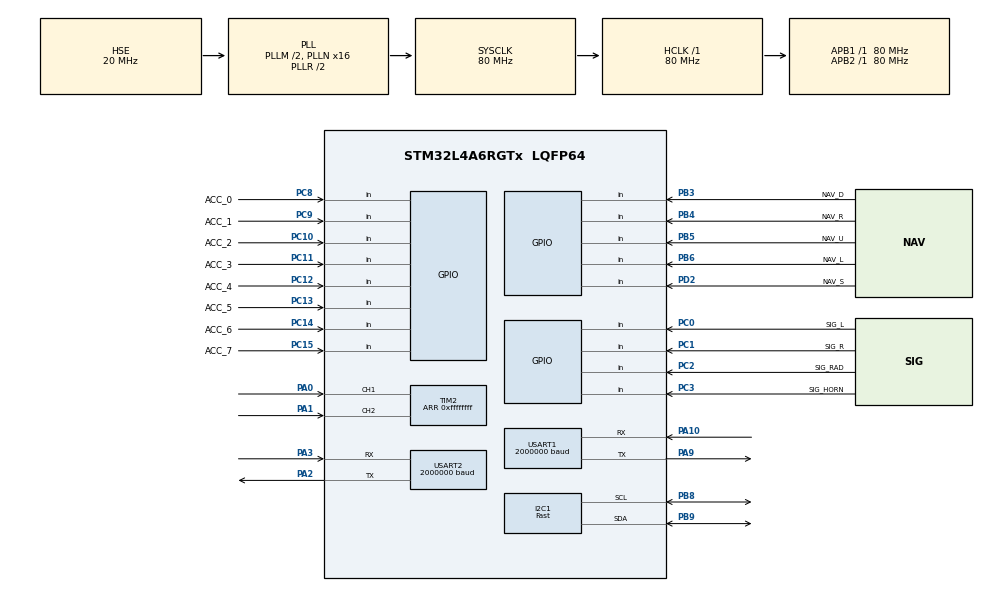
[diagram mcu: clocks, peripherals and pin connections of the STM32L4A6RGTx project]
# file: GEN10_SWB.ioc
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CRC.InputDataInversionMode=CRC_INPUTDATA_INVERSION_BYTE
CRC.OutputDataInversionMode=CRC_OUTPUTDATA_INVERSION_ENABLE
FREERTOS.INCLUDE_eTaskGetState=1
FREERTOS.INCLUDE_pcTaskGetTaskName=1
FREERTOS.INCLUDE_vTaskDelayUntil=1
FREERTOS.INCLUDE_xEventGroupSetBitFromISR=0
FREERTOS.INCLUDE_xQueueGetMutexHolder=1
FREERTOS.INCLUDE_xSemaphoreGetMutexHolder=1
FREERTOS.INCLUDE_xTaskAbortDelay=1
FREERTOS.INCLUDE_xTaskGetCurrentTaskHandle=1
FREERTOS.INCLUDE_xTaskGetHandle=1
FREERTOS.INCLUDE_xTimerPendFunctionCall=0
FREERTOS.Tasks01=defaultTask,0,512,StartDefaultTask,Default,NULL,Dynamic,NULL,NULL
FREERTOS.configGENERATE_RUN_TIME_STATS=1
FREERTOS.configMINIMAL_STACK_SIZE=512
FREERTOS.configQUEUE_REGISTRY_SIZE=16
FREERTOS.configRECORD_STACK_HIGH_ADDRESS=1
FREERTOS.configTIMER_QUEUE_LENGTH=32
FREERTOS.configTIMER_TASK_PRIORITY=4
FREERTOS.configTIMER_TASK_STACK_DEPTH=2048
FREERTOS.configTOTAL_HEAP_SIZE=262144
FREERTOS.configUSE_APPLICATION_TASK_TAG=1
FREERTOS.configUSE_STATS_FORMATTING_FUNCTIONS=1
FREERTOS.configUSE_TIMERS=1
FREERTOS.configUSE_TRACE_FACILITY=1
I2C1.I2C_Speed_Mode=I2C_Fast
I2C1.Timing=0x00702991
Mcu.Family=STM32L4
Mcu.Name=STM32L4A6RGTx
Mcu.Package=LQFP64
NVIC.PriorityGroup=NVIC_PRIORITYGROUP_4
NVIC.TIM6_DAC_IRQn=true\:0\:0\:false\:false\:true\:false\:false\:true
NVIC.TimeBase=TIM6_DAC_IRQn
NVIC.TimeBaseIP=TIM6
NVIC.USART1_IRQn=true\:6\:0\:true\:true\:true\:2\:true\:true\:true
NVIC.USART2_IRQn=true\:6\:0\:true\:true\:true\:1\:true\:true\:true
PA0.Signal=S_TIM2_CH1
PA1.Signal=S_TIM2_CH2
PA10.Mode=Asynchronous
PA10.Signal=USART1_RX
PA13\ (JTMS/SWDIO).Mode=Serial_Wire
PA13\ (JTMS/SWDIO).Signal=SYS_JTMS-SWDIO
PA14\ (JTCK/SWCLK).Mode=Serial_Wire
PA14\ (JTCK/SWCLK).Signal=SYS_JTCK-SWCLK
PA2.Mode=Asynchronous
PA2.Signal=USART2_TX
PA3.Mode=Asynchronous
PA3.Signal=USART2_RX
PA9.Mode=Asynchronous
PA9.Signal=USART1_TX
PB3\ (JTDO/TRACESWO).GPIO_Label=NAV_D
PB3\ (JTDO/TRACESWO).Signal=GPIO_Input
PB4\ (NJTRST).GPIO_Label=NAV_R
PB4\ (NJTRST).Signal=GPIO_Input
PB5.GPIO_Label=NAV_U
PB5.Signal=GPIO_Input
PB6.GPIO_Label=NAV_L
PB6.Signal=GPIO_Input
PB8.Mode=I2C
PB8.Signal=I2C1_SCL
PB9.Mode=I2C
PB9.Signal=I2C1_SDA
PC0.GPIO_Label=SIG_L
PC0.Signal=GPIO_Input
PC1.GPIO_Label=SIG_R
PC1.Signal=GPIO_Input
PC10.GPIO_Label=ACC_2
PC10.Signal=GPIO_Input
PC11.GPIO_Label=ACC_3
PC11.Signal=GPIO_Input
PC12.GPIO_Label=ACC_4
PC12.Signal=GPIO_Input
PC13.GPIO_Label=ACC_5
PC13.Signal=GPIO_Input
PC14-OSC32_IN\ (PC14).GPIO_Label=ACC_6
PC14-OSC32_IN\ (PC14).Signal=GPIO_Input
PC15-OSC32_OUT\ (PC15).GPIO_Label=ACC_7
PC15-OSC32_OUT\ (PC15).Signal=GPIO_Input
PC2.GPIO_Label=SIG_RAD
PC2.Signal=GPIO_Input
PC3.GPIO_Label=SIG_HORN
PC3.Signal=GPIO_Input
PC8.GPIO_Label=ACC_0
PC8.Signal=GPIO_Input
PC9.GPIO_Label=ACC_1
PC9.Signal=GPIO_Input
PD2.GPIO_Label=NAV_S
PD2.Signal=GPIO_Input
PH0-OSC_IN\ (PH0).Mode=HSE-External-Clock-Source
PH0-OSC_IN\ (PH0).Signal=RCC_OSC_IN
ProjectManager.HeapSize=0x200
ProjectManager.StackSize=0x400
ProjectManager.TargetToolchain=STM32CubeIDE
RCC.ADCFreq_Value=40000000
RCC.AHBFreq_Value=80000000
RCC.APB1Freq_Value=80000000
RCC.APB1TimFreq_Value=80000000
RCC.APB2Freq_Value=80000000
RCC.APB2TimFreq_Value=80000000
RCC.CortexFreq_Value=80000000
RCC.HCLKFreq_Value=80000000
RCC.HSE_VALUE=20000000
RCC.HSI48_VALUE=48000000
RCC.HSI_VALUE=16000000
RCC.LSE_VALUE=32768
RCC.MSI_VALUE=4000000
RCC.PLLM=2
RCC.PLLN=16
RCC.PLLSourceVirtual=RCC_PLLSOURCE_HSE
RCC.SYSCLKFreq_VALUE=80000000
RCC.SYSCLKSource=RCC_SYSCLKSOURCE_PLLCLK
RCC.USBFreq_Value=40000000
RCC.VCOOutputFreq_Value=160000000
SH.S_TIM2_CH1.0=TIM2_CH1,Encoder_Interface
SH.S_TIM2_CH2.0=TIM2_CH2,Encoder_Interface
TIM2.EncoderMode=TIM_ENCODERMODE_TI12
TIM2.Period=0xffffffff
USART1.BaudRate=2000000
USART1.VirtualMode-Asynchronous=VM_ASYNC
USART2.BaudRate=2000000
USART2.VirtualMode-Asynchronous=VM_ASYNC
VP_CRC_VS_CRC.Mode=CRC_Activate
VP_FREERTOS_VS_CMSIS_V1.Mode=CMSIS_V1
VP_SYS_VS_tim6.Mode=TIM6
board=custom

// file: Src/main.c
/* USER CODE BEGIN Header */
/**
  ******************************************************************************
  * @file           : main.c
  * @brief          : Main program body
  ******************************************************************************
  * @attention
  *
  * <h2><center>&copy; Copyright (c) 2019 STMicroelectronics.
  * All rights reserved.</center></h2>
  *
  * This software component is licensed by ST under BSD 3-Clause license,
  * the "License"; You may not use this file except in compliance with the
  * License. You may obtain a copy of the License at:
  *                        opensource.org/licenses/BSD-3-Clause
  *
  ******************************************************************************
  */
/* USER CODE END Header */

#include "main.h"
#include "cmsis_os.h"

/* USER CODE BEGIN Includes */
#include "accelEnc.h"
#include "launchCodes.h"
/* USER CODE END Includes */

/* USER CODE BEGIN PTD */
typedef struct{
	uint8_t* buf;
	size_t len;
}bufQEntry_t;
/* USER CODE END PTD */

/* USER CODE BEGIN PD */
QueueHandle_t uart1TxQ, uart2TxQ;
SemaphoreHandle_t uart1TxSem, uart2TxSem;
/* USER CODE END PD */

CRC_HandleTypeDef hcrc;

I2C_HandleTypeDef hi2c1;

TIM_HandleTypeDef htim2;

UART_HandleTypeDef huart1;
UART_HandleTypeDef huart2;

osThreadId defaultTaskHandle;

void SystemClock_Config(void);
static void MX_GPIO_Init(void);
static void MX_CRC_Init(void);
static void MX_I2C1_Init(void);
static void MX_TIM2_Init(void);
static void MX_USART1_UART_Init(void);
static void MX_USART2_UART_Init(void);
void StartDefaultTask(void const * argument);

static void MX_NVIC_Init(void);
/* USER CODE BEGIN PFP */
static void buttonStateTmr(TimerHandle_t xTimer);
static void encoderTmr(TimerHandle_t xTimer);
static void temperatureTmr(TimerHandle_t xTimer);
static void uart1TxTask(const void* pv);
static void uart2TxTask(const void* pv);
/* USER CODE END PFP */

int main(void)
{

  /* MCU Configuration--------------------------------------------------------*/

  /* Reset of all peripherals, Initializes the Flash interface and the Systick. */
  HAL_Init();

  /* USER CODE BEGIN Init */
  	LAUNCH_armNuke();
  /* USER CODE END Init */

  /* Configure the system clock */
  SystemClock_Config();

  /* Initialize all configured peripherals */
  MX_GPIO_Init();
  MX_CRC_Init();
  MX_I2C1_Init();
  MX_TIM2_Init();
  MX_USART1_UART_Init();
  MX_USART2_UART_Init();

  /* Initialize interrupts */
  MX_NVIC_Init();

  /* USER CODE BEGIN RTOS_SEMAPHORES */
  /* add semaphores, ... */
  uart1TxSem = xSemaphoreCreateBinary();
  xSemaphoreGive(uart1TxSem);
  uart2TxSem = xSemaphoreCreateBinary();
  xSemaphoreGive(uart2TxSem);
  /* USER CODE END RTOS_SEMAPHORES */

  /* USER CODE BEGIN RTOS_TIMERS */
  /* start timers, add new ones, ... */
  xTimerStart(xTimerCreate("buttonStateTmr", 50, pdTRUE, NULL, buttonStateTmr), 0);
  xTimerStart(xTimerCreate("encoderTmr", 10, pdTRUE, NULL, encoderTmr), 0);
  xTimerStart(xTimerCreate("temperatureTmr", 100, pdTRUE, NULL, temperatureTmr), 0);
  /* USER CODE END RTOS_TIMERS */

  /* USER CODE BEGIN RTOS_QUEUES */
  /* add queues, ... */
  uart1TxQ = xQueueCreate(64, sizeof(bufQEntry_t));
  uart2TxQ = xQueueCreate(64, sizeof(bufQEntry_t));
#ifdef ENABLE_CUBEMX_DEFAULT_TASK
  /* USER CODE END RTOS_QUEUES */

  /* Create the thread(s) */
  /* definition and creation of defaultTask */
  osThreadDef(defaultTask, StartDefaultTask, osPriorityNormal, 0, 512);
  defaultTaskHandle = osThreadCreate(osThread(defaultTask), NULL);

  /* USER CODE BEGIN RTOS_THREADS */
#endif
  /* add threads, ... */
  xTaskCreate(uart1TxTask, "uart1TxTask", 1024, NULL, 3, NULL);
  xTaskCreate(uart2TxTask, "uart2TxTask", 1024, NULL, 3, NULL);
  /* USER CODE END RTOS_THREADS */

  /* Start scheduler */
  osKernelStart();

  /* We should never get here as control is now taken by the scheduler */

  /* Infinite loop */
  while (1)
  {

  }
}

void SystemClock_Config(void)
{
  RCC_OscInitTypeDef RCC_OscInitStruct = {0};
  RCC_ClkInitTypeDef RCC_ClkInitStruct = {0};
  RCC_PeriphCLKInitTypeDef PeriphClkInit = {0};

  /** Initializes the CPU, AHB and APB busses clocks
  */
  RCC_OscInitStruct.OscillatorType = RCC_OSCILLATORTYPE_HSE;
  RCC_OscInitStruct.HSEState = RCC_HSE_BYPASS;
  RCC_OscInitStruct.PLL.PLLState = RCC_PLL_ON;
  RCC_OscInitStruct.PLL.PLLSource = RCC_PLLSOURCE_HSE;
  RCC_OscInitStruct.PLL.PLLM = 2;
  RCC_OscInitStruct.PLL.PLLN = 16;
  RCC_OscInitStruct.PLL.PLLP = RCC_PLLP_DIV2;
  RCC_OscInitStruct.PLL.PLLQ = RCC_PLLQ_DIV2;
  RCC_OscInitStruct.PLL.PLLR = RCC_PLLR_DIV2;
  if (HAL_RCC_OscConfig(&RCC_OscInitStruct) != HAL_OK)
  {
    Error_Handler();
  }
  /** Initializes the CPU, AHB and APB busses clocks
  */
  RCC_ClkInitStruct.ClockType = RCC_CLOCKTYPE_HCLK|RCC_CLOCKTYPE_SYSCLK
                              |RCC_CLOCKTYPE_PCLK1|RCC_CLOCKTYPE_PCLK2;
  RCC_ClkInitStruct.SYSCLKSource = RCC_SYSCLKSOURCE_PLLCLK;
  RCC_ClkInitStruct.AHBCLKDivider = RCC_SYSCLK_DIV1;
  RCC_ClkInitStruct.APB1CLKDivider = RCC_HCLK_DIV1;
  RCC_ClkInitStruct.APB2CLKDivider = RCC_HCLK_DIV1;

  if (HAL_RCC_ClockConfig(&RCC_ClkInitStruct, FLASH_LATENCY_4) != HAL_OK)
  {
    Error_Handler();
  }
  PeriphClkInit.PeriphClockSelection = RCC_PERIPHCLK_USART1|RCC_PERIPHCLK_USART2
                              |RCC_PERIPHCLK_I2C1;
  PeriphClkInit.Usart1ClockSelection = RCC_USART1CLKSOURCE_PCLK2;
  PeriphClkInit.Usart2ClockSelection = RCC_USART2CLKSOURCE_PCLK1;
  PeriphClkInit.I2c1ClockSelection = RCC_I2C1CLKSOURCE_PCLK1;
  if (HAL_RCCEx_PeriphCLKConfig(&PeriphClkInit) != HAL_OK)
  {
    Error_Handler();
  }
  /** Configure the main internal regulator output voltage
  */
  if (HAL_PWREx_ControlVoltageScaling(PWR_REGULATOR_VOLTAGE_SCALE1) != HAL_OK)
  {
    Error_Handler();
  }
}

/**
  * @brief NVIC Configuration.
  * @retval None
  */
static void MX_NVIC_Init(void)
{
  /* USART2_IRQn interrupt configuration */
  HAL_NVIC_SetPriority(USART2_IRQn, 6, 0);
  HAL_NVIC_EnableIRQ(USART2_IRQn);
  /* USART1_IRQn interrupt configuration */
  HAL_NVIC_SetPriority(USART1_IRQn, 6, 0);
  HAL_NVIC_EnableIRQ(USART1_IRQn);
}

static void MX_CRC_Init(void)
{

  hcrc.Instance = CRC;
  hcrc.Init.DefaultPolynomialUse = DEFAULT_POLYNOMIAL_ENABLE;
  hcrc.Init.DefaultInitValueUse = DEFAULT_INIT_VALUE_ENABLE;
  hcrc.Init.InputDataInversionMode = CRC_INPUTDATA_INVERSION_BYTE;
  hcrc.Init.OutputDataInversionMode = CRC_OUTPUTDATA_INVERSION_ENABLE;
  hcrc.InputDataFormat = CRC_INPUTDATA_FORMAT_BYTES;
  if (HAL_CRC_Init(&hcrc) != HAL_OK)
  {
    Error_Handler();
  }

}

static void MX_I2C1_Init(void)
{

  hi2c1.Instance = I2C1;
  hi2c1.Init.Timing = 0x00702991;
  hi2c1.Init.OwnAddress1 = 0;
  hi2c1.Init.AddressingMode = I2C_ADDRESSINGMODE_7BIT;
  hi2c1.Init.DualAddressMode = I2C_DUALADDRESS_DISABLE;
  hi2c1.Init.OwnAddress2 = 0;
  hi2c1.Init.OwnAddress2Masks = I2C_OA2_NOMASK;
  hi2c1.Init.GeneralCallMode = I2C_GENERALCALL_DISABLE;
  hi2c1.Init.NoStretchMode = I2C_NOSTRETCH_DISABLE;
  if (HAL_I2C_Init(&hi2c1) != HAL_OK)
  {
    Error_Handler();
  }
  /** Configure Analogue filter
  */
  if (HAL_I2CEx_ConfigAnalogFilter(&hi2c1, I2C_ANALOGFILTER_ENABLE) != HAL_OK)
  {
    Error_Handler();
  }
  /** Configure Digital filter
  */
  if (HAL_I2CEx_ConfigDigitalFilter(&hi2c1, 0) != HAL_OK)
  {
    Error_Handler();
  }

}

static void MX_TIM2_Init(void)
{

  TIM_Encoder_InitTypeDef sConfig = {0};
  TIM_MasterConfigTypeDef sMasterConfig = {0};

  htim2.Instance = TIM2;
  htim2.Init.Prescaler = 0;
  htim2.Init.CounterMode = TIM_COUNTERMODE_UP;
  htim2.Init.Period = 0xffffffff;
  htim2.Init.ClockDivision = TIM_CLOCKDIVISION_DIV1;
  htim2.Init.AutoReloadPreload = TIM_AUTORELOAD_PRELOAD_DISABLE;
  sConfig.EncoderMode = TIM_ENCODERMODE_TI12;
  sConfig.IC1Polarity = TIM_ICPOLARITY_RISING;
  sConfig.IC1Selection = TIM_ICSELECTION_DIRECTTI;
  sConfig.IC1Prescaler = TIM_ICPSC_DIV1;
  sConfig.IC1Filter = 0;
  sConfig.IC2Polarity = TIM_ICPOLARITY_RISING;
  sConfig.IC2Selection = TIM_ICSELECTION_DIRECTTI;
  sConfig.IC2Prescaler = TIM_ICPSC_DIV1;
  sConfig.IC2Filter = 0;
  if (HAL_TIM_Encoder_Init(&htim2, &sConfig) != HAL_OK)
  {
    Error_Handler();
  }
  sMasterConfig.MasterOutputTrigger = TIM_TRGO_RESET;
  sMasterConfig.MasterSlaveMode = TIM_MASTERSLAVEMODE_DISABLE;
  if (HAL_TIMEx_MasterConfigSynchronization(&htim2, &sMasterConfig) != HAL_OK)
  {
    Error_Handler();
  }
  /* USER CODE BEGIN TIM2_Init 2 */
  HAL_TIM_Encoder_Start(&htim2, TIM_CHANNEL_ALL);
  /* USER CODE END TIM2_Init 2 */

}

static void MX_USART1_UART_Init(void)
{

  huart1.Instance = USART1;
  huart1.Init.BaudRate = 2000000;
  huart1.Init.WordLength = UART_WORDLENGTH_8B;
  huart1.Init.StopBits = UART_STOPBITS_1;
  huart1.Init.Parity = UART_PARITY_NONE;
  huart1.Init.Mode = UART_MODE_TX_RX;
  huart1.Init.HwFlowCtl = UART_HWCONTROL_NONE;
  huart1.Init.OverSampling = UART_OVERSAMPLING_16;
  huart1.Init.OneBitSampling = UART_ONE_BIT_SAMPLE_DISABLE;
  huart1.AdvancedInit.AdvFeatureInit = UART_ADVFEATURE_NO_INIT;
  if (HAL_UART_Init(&huart1) != HAL_OK)
  {
    Error_Handler();
  }

}

static void MX_USART2_UART_Init(void)
{

  huart2.Instance = USART2;
  huart2.Init.BaudRate = 2000000;
  huart2.Init.WordLength = UART_WORDLENGTH_8B;
  huart2.Init.StopBits = UART_STOPBITS_1;
  huart2.Init.Parity = UART_PARITY_NONE;
  huart2.Init.Mode = UART_MODE_TX_RX;
  huart2.Init.HwFlowCtl = UART_HWCONTROL_NONE;
  huart2.Init.OverSampling = UART_OVERSAMPLING_16;
  huart2.Init.OneBitSampling = UART_ONE_BIT_SAMPLE_DISABLE;
  huart2.AdvancedInit.AdvFeatureInit = UART_ADVFEATURE_NO_INIT;
  if (HAL_UART_Init(&huart2) != HAL_OK)
  {
    Error_Handler();
  }

}

static void MX_GPIO_Init(void)
{
  GPIO_InitTypeDef GPIO_InitStruct = {0};

  /* GPIO Ports Clock Enable */
  __HAL_RCC_GPIOC_CLK_ENABLE();
  __HAL_RCC_GPIOH_CLK_ENABLE();
  __HAL_RCC_GPIOA_CLK_ENABLE();
  __HAL_RCC_GPIOD_CLK_ENABLE();
  __HAL_RCC_GPIOB_CLK_ENABLE();

  /*Configure GPIO pins : ACC_5_Pin ACC_6_Pin ACC_7_Pin SIG_L_Pin
                           SIG_R_Pin SIG_RAD_Pin SIG_HORN_Pin ACC_0_Pin
                           ACC_1_Pin ACC_2_Pin ACC_3_Pin ACC_4_Pin */
  GPIO_InitStruct.Pin = ACC_5_Pin|ACC_6_Pin|ACC_7_Pin|SIG_L_Pin
                          |SIG_R_Pin|SIG_RAD_Pin|SIG_HORN_Pin|ACC_0_Pin
                          |ACC_1_Pin|ACC_2_Pin|ACC_3_Pin|ACC_4_Pin;
  GPIO_InitStruct.Mode = GPIO_MODE_INPUT;
  GPIO_InitStruct.Pull = GPIO_NOPULL;
  HAL_GPIO_Init(GPIOC, &GPIO_InitStruct);

  /*Configure GPIO pin : NAV_S_Pin */
  GPIO_InitStruct.Pin = NAV_S_Pin;
  GPIO_InitStruct.Mode = GPIO_MODE_INPUT;
  GPIO_InitStruct.Pull = GPIO_NOPULL;
  HAL_GPIO_Init(NAV_S_GPIO_Port, &GPIO_InitStruct);

  /*Configure GPIO pins : NAV_D_Pin NAV_R_Pin NAV_U_Pin NAV_L_Pin */
  GPIO_InitStruct.Pin = NAV_D_Pin|NAV_R_Pin|NAV_U_Pin|NAV_L_Pin;
  GPIO_InitStruct.Mode = GPIO_MODE_INPUT;
  GPIO_InitStruct.Pull = GPIO_NOPULL;
  HAL_GPIO_Init(GPIOB, &GPIO_InitStruct);

}

/* USER CODE BEGIN 4 */
static void buttonStateTmr(TimerHandle_t xTimer){
	// 48 counts per rotation
	// read or reset htim2.Instance->CNT
	uint32_t gpiob_state = GPIOB->IDR & 0x78;
	uint32_t gpioc_state = GPIOC->IDR & 0x0f;
	uint32_t gpiod_state = GPIOD->IDR & 0x04;
	int32_t enc_count = htim2.Instance->CNT;
	htim2.Instance->CNT = 0;

	if(enc_count > 127) enc_count = 127;
	if(enc_count < -128) enc_count = -128;

	//{0xa5[8], 0x03[8], {SW_SPDT_L[1], SW_SPDT_R[1], K1[1], SW_NAV_U[1], SW_NAV_D[1], SW_NAV_L[1], SW_NAV_R[1], SW_NAV_ENTER[1]}[8], SW_NAV_ENC[8], CRC[32]}
	static uint8_t serialized[] = {0xa5, 0x03, 0x00, 0x00, 0x00, 0xcc, 0xcc, 0xcc, 0xcc};
	serialized[2] = gpioc_state<<4 | gpiob_state>>3;
	serialized[3] = gpiod_state>>2;
	serialized[4] = enc_count;
	uint32_t crc = ~HAL_CRC_Calculate(&hcrc, serialized, sizeof(serialized)-4);
	for(size_t i=0; i<4; i++) serialized[i+sizeof(serialized)-4] = (crc >> (i << 3)) & 0xff;

	bufQEntry_t e = {serialized, sizeof(serialized)};
	xQueueSendToBack(uart1TxQ, &e, 0);
	xQueueSendToBack(uart2TxQ, &e, 0);
}

static void encoderTmr(TimerHandle_t xTimer){
	uint32_t gpioc_state = (GPIOC->IDR & 0xff00) >> 8;
	uint32_t pos = ACC_MAP[gpioc_state];
	static uint8_t serialized[] = {0xa5, 0x02, 0x00, 0xcc, 0xcc, 0xcc, 0xcc};
	serialized[2] = pos;
	uint32_t crc = ~HAL_CRC_Calculate(&hcrc, serialized, sizeof(serialized)-4);
	for(size_t i=0; i<4; i++) serialized[i+sizeof(serialized)-4] = (crc >> (i << 3)) & 0xff;

	bufQEntry_t e = {serialized, sizeof(serialized)};
	xQueueSendToBack(uart1TxQ, &e, 0);
	xQueueSendToBack(uart2TxQ, &e, 0);
}

static void temperatureTmr(TimerHandle_t xTimer){
	static inited = 0;
	if(!inited){
		inited = 1; // sensor startup delay
		return;
	}
}

static void uart1TxTask(const void* pv){
	bufQEntry_t e;
	for(;;){
		xQueueReceive(uart1TxQ, &e, portMAX_DELAY);
		xSemaphoreTake(uart1TxSem, portMAX_DELAY);
		HAL_UART_Transmit_IT(&huart1, e.buf, e.len);
		xSemaphoreTake(uart1TxSem, portMAX_DELAY);
		xSemaphoreGive(uart1TxSem);
	}
}

static void uart2TxTask(const void* pv){
	bufQEntry_t e;
	for(;;){
		xQueueReceive(uart2TxQ, &e, portMAX_DELAY);
		xSemaphoreTake(uart2TxSem, portMAX_DELAY);
		HAL_UART_Transmit_IT(&huart2, e.buf, e.len);
		xSemaphoreTake(uart2TxSem, portMAX_DELAY);
		xSemaphoreGive(uart2TxSem);
	}
}

void HAL_UART_TxCpltCallback (UART_HandleTypeDef * huart){
	if(huart == &huart1){
		xSemaphoreGiveFromISR(uart1TxSem, NULL);
	}else if(huart == &huart2){
		xSemaphoreGiveFromISR(uart2TxSem, NULL);
	}
}
/* USER CODE END 4 */

void StartDefaultTask(void const * argument)
{

  /* USER CODE BEGIN 5 */
	for(;;) osDelay(portMAX_DELAY);
  /* USER CODE END 5 */
}

void HAL_TIM_PeriodElapsedCallback(TIM_HandleTypeDef *htim)
{
  if (htim->Instance == TIM6) {
    HAL_IncTick();
  }
}

void Error_Handler(void)
{
}

/************************ (C) COPYRIGHT STMicroelectronics *****END OF FILE****/
